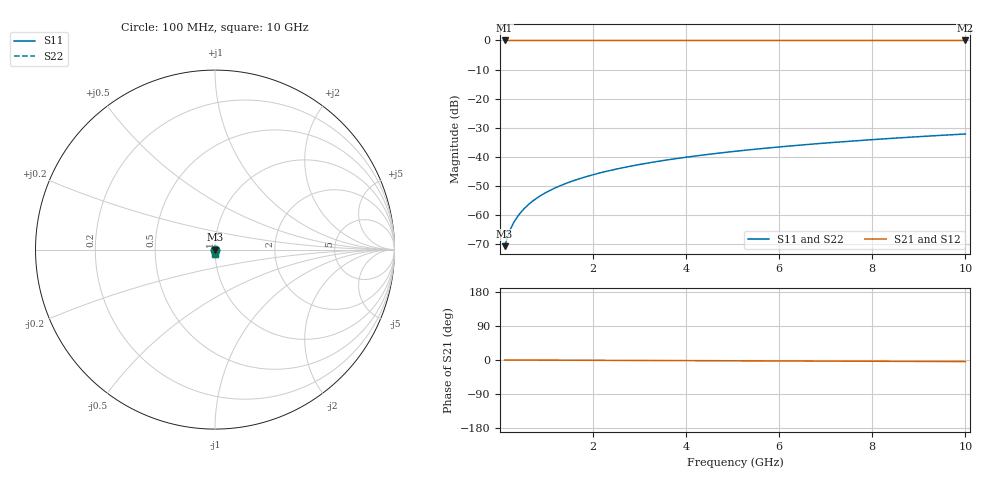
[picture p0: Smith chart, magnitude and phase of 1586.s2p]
# Hz S RI R 50.00
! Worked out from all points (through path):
!   100 points, 100 MHz to 10 GHz, reference 50 ohm
!   highest |S21| = 0.00 dB at 100 MHz (marker M1); lowest = 0.0 dB at 10 GHz (marker M2)
!   lowest |S11| = -70.7 dB at 100 MHz (marker M3), VSWR 1.00, Z = 50 - j0.0245 ohm
!   |S11| at or under -10 dB: start of sweep to end of sweep
!   |S22| runs from -70.7 to -32.2 dB; largest |S21 - S12| = 0
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1e8  0.000155 -0.000245  0.9998 -0.000715  0.9998 -0.000715  0.000155 -0.000245
2e8  0.000156 -0.000491  0.9998 -0.00143  0.9998 -0.00143  0.000156 -0.000491
3e8  0.000155 -0.000736  0.9998 -0.00215  0.9998 -0.00215  0.000155 -0.000736
4e8  0.000154 -0.000981  0.9998 -0.00286  0.9998 -0.00286  0.000154 -0.000981
5e8  0.000152 -0.00123  0.9998 -0.00358  0.9998 -0.00358  0.000152 -0.00123
6e8  0.000151 -0.00147  0.9998 -0.00429  0.9998 -0.00429  0.000151 -0.00147
7e8  0.000148 -0.00172  0.9998 -0.00501  0.9998 -0.00501  0.000148 -0.00172
8e8  0.000146 -0.00196  0.9998 -0.00572  0.9998 -0.00572  0.000146 -0.00196
9e8  0.000143 -0.00221  0.9998 -0.00644  0.9998 -0.00644  0.000143 -0.00221
1.1e9  0.000135 -0.0027  0.9998 -0.00787  0.9998 -0.00787  0.000135 -0.0027
1.4e9  0.000122 -0.00343  0.9998 -0.01  0.9998 -0.01  0.000122 -0.00343
1.8e9  9.86e-05 -0.00442  0.9997 -0.0129  0.9997 -0.0129  9.86e-05 -0.00442
2.1e9  7.75e-05 -0.00515  0.9997 -0.015  0.9997 -0.015  7.75e-05 -0.00515
2.5e9  4.43e-05 -0.00614  0.9996 -0.0179  0.9996 -0.0179  4.43e-05 -0.00614
2.9e9  5.43e-06 -0.00712  0.9996 -0.0207  0.9996 -0.0207  5.43e-06 -0.00712
3.4e9  -5.12e-05 -0.00835  0.9995 -0.0243  0.9995 -0.0243  -5.12e-05 -0.00835
4.2e9  -0.00016 -0.0103  0.9993 -0.0301  0.9993 -0.0301  -0.00016 -0.0103
5.1e9  -0.00031 -0.0125  0.9991 -0.0365  0.9991 -0.0365  -0.00031 -0.0125
5.9e9  -0.000467 -0.0145  0.9988 -0.0423  0.9988 -0.0423  -0.000467 -0.0145
6.7e9  -0.000648 -0.0165  0.9985 -0.048  0.9985 -0.048  -0.000648 -0.0165
8.4e9  -0.00111 -0.0207  0.9978 -0.0602  0.9978 -0.0602  -0.00111 -0.0207
1e10  -0.00163 -0.0246  0.9969 -0.0717  0.9969 -0.0717  -0.00163 -0.0246
